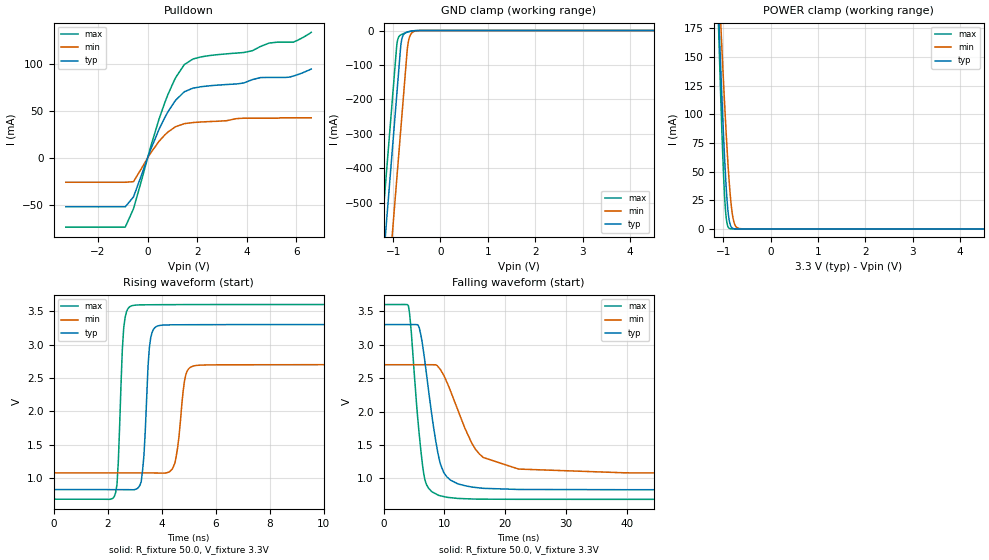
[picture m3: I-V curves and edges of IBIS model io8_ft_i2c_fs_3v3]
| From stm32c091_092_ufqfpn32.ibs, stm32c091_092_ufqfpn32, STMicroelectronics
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[Model]   io8_ft_i2c_fs_3v3
Model_type I/O_open_drain
Polarity   Non-Inverting
Enable   Active-Low
| CAP_THRESHOLD on pad IOFT is "UDTCAPC" :
| Rising=30.0% of vddiom   Falling=70.0% of vddiom
| C_comp min and max val. don't necessarily correlate with the min and max pvt
| but are the smallest and greatest pad capacitance found.
| var   typ   min   max
C_comp   2.42256pF  2.36366pF  2.44769pF
|C_comp_pulldown   2.42256pF  2.36366pF  2.44769pF
Vinl = 1.35V
Vinh = 1.8V
Vmeas = 1.65V   | Reference voltage for timing measurements
Cref  = 50.0pF   | Timing specification test load capacitance value
Rref  = 1.0MOhm   | Timing specification test load resistance value
Vref  = 1.815V   | Timing specification test load voltage
[Model Spec]
| TIME_THRESHOLD on pin ZII2CV12 is "CMOS" :
| Rising=50.0% of vdd   Falling=50.0% of vdd
Vinl 1.34770V 1.11370V 1.44970V
Vinh 1.77530V 1.49530V 1.90330V
| variable   typ   min   max
[Temperature Range] 25.0 125.0 -40.0
| variable   typ   min   max
[Voltage Range] 3.3V 2.7V 3.6V
| variable   typ   min   max
[POWER Clamp Reference] 3.3V 2.7V 3.6V
| variable   typ   min   max
[GND Clamp Reference] 0V 0V 0V
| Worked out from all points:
|   slope of the pulldown table from 0 to 0.495 V, typ, clamps not added: 15.4 ohm
|   GND clamp passes 1 mA (typ) near -0.58 V on its own axis
|   POWER clamp passes 1 mA (typ) near -0.81 V on its own axis
|   rising waveform, R_fixture 50.0, V_fixture 3.3V: 20-80 % time 179ps typ, 250ps min, 161ps max; typ from 0.831 V to 3.3 V
|   falling waveform, R_fixture 50.0, V_fixture 3.3V: 20-80 % time 2.35ns typ, 4.68ns min, 1.62ns max; typ from 3.3 V to 0.831 V
[POWER Clamp]
-3.3V     2.991A     2.543A     3.694A
-1.1V     191.1mA    222.7mA    177.1mA
-1.08V    169mA      204.2mA    149.9mA
-1.05V    136.9mA    176.9mA    110.9mA
-1.01V    96.55mA    141.6mA    64.02mA
-970mV    60.39mA    108.2mA    27.41mA
-930mV    31.08mA    77.43mA    7.282mA
-900mV    15.67mA    56.69mA    2.025mA
-860mV    4.779mA    33.42mA    315.2uA
-780mV    272.1uA    6.953mA    6.98uA
-670mV    4.467uA    374.2uA    36.58nA
6.6V      0A         0A         0A
[GND Clamp]
-3.3V     -4.227A    -4.472A    -4.082A
-1.25V    -742.2mA   -986.7mA   -597.4mA
-930mV    -198.2mA   -442.7mA   -53.39mA
-920mV    -181.2mA   -425.7mA   -39.67mA
-890mV    -130.2mA   -374.7mA   -20.93mA
-830mV    -35.33mA   -272.7mA   -12.06mA
-790mV    -14.13mA   -204.7mA   -9.442mA
-720mV    -5.312mA   -85.66mA   -5.702mA
-690mV    -3.888mA   -42.66mA   -4.338mA
-650mV    -2.529mA   -17.47mA   -2.784mA
-480mV    -113.2uA   -479.8uA   -69.15uA
6.6V      942.9pA    93.37nA    678.9pA
| variable   typ   min   max
[Pullup Reference] 3.3V 2.7V 3.6V
| variable   typ   min   max
[Pulldown Reference] 0V 0V 0V
[Pulldown]
-3.3V     -51.88mA   -25.81mA   -73.46mA
-900mV    -51.88mA   -25.81mA   -73.32mA
-570mV    -41.39mA   -25.18mA   -53.99mA
120mV     8.622mA    5.148mA    11.58mA
690mV     42.7mA     24.28mA    58.45mA
1.08V     59.39mA    32.34mA    82.54mA
1.48V     70.24mA    36.36mA    99.08mA
2.17V     75.62mA    38.17mA    107.3mA
3.88V     79.57mA    42.16mA    111.9mA
4.9V      85.45mA    42.16mA    121.9mA
5.88V     86.9mA     42.6mA     122.9mA
6.6V      94.4mA     42.6mA     133.3mA
[Ramp]
dV/dt_r 1.48133V/174.1813ps 971.09138mV/245.92094ps 1.74773V/156.39942ps
dV/dt_f 1.48135V/2.34826ns 971.12085mV/4.67992ns 1.74775V/1.61853ns
R_load = 50.0
| Removed startup time: 0s 0s 0s  .
| Removed end time: 29.7ns.
[Rising Waveform]
R_fixture   = 50.0
V_fixture   = 3.3V
V_fixture_min = 2.7V
V_fixture_max = 3.6V
0s        831.1mV    1.081V     687.1mV
2.25ns    830.7mV    1.081V     725.7mV
2.6ns     830.4mV    1.081V     3.249V
2.9ns     829mV      1.081V     3.581V
3.25ns    954.1mV    1.081V     3.594V
3.55ns    2.956V     1.08V      3.596V
3.9ns     3.283V     1.079V     3.597V
4.5ns     3.296V     1.234V     3.598V
5.25ns    3.298V     2.686V     3.599V
29.7ns    3.3V       2.7V       3.6V
| Removed startup time: 0s 0s 0s  .
| Removed end time: 199.775ns.
[Falling Waveform]
R_fixture   = 50.0
V_fixture   = 3.3V
V_fixture_min = 2.7V
V_fixture_max = 3.6V
0s        3.3V       2.7V       3.6V
4.075ns   3.3V       2.7V       3.578V
5.825ns   3.262V     2.7V       1.684V
6.525ns   2.917V     2.7V       1.112V
7.075ns   2.537V     2.7V       903mV
8.875ns   1.403V     2.679V     754.5mV
10.43ns   1.02V      2.433V     717.4mV
15.1ns    864.5mV    1.436V     691mV
22.2ns    834.6mV    1.14V      687.3mV
199.8ns   831.1mV    1.081V     687.1mV
